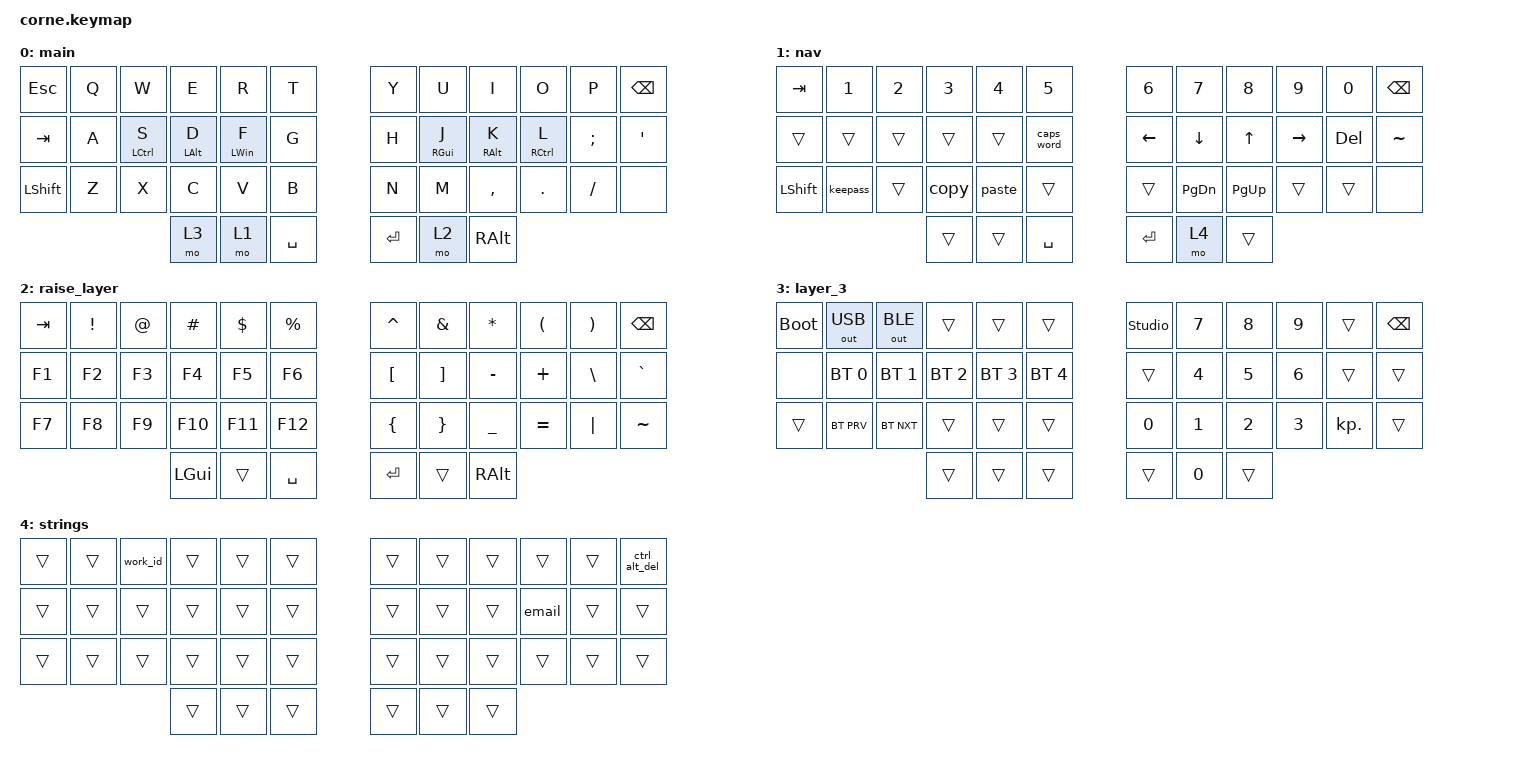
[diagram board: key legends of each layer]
/*
 * Copyright (c) 2020 The ZMK Contributors
 *
 * SPDX-License-Identifier: MIT
 */

#include <behaviors.dtsi>
#include <dt-bindings/zmk/bt.h>
#include <dt-bindings/zmk/keys.h>
#include <dt-bindings/zmk/outputs.h>

/ {
    behaviors {
        HML: HML {
            compatible = "zmk,behavior-hold-tap";
            label = "HML";
            bindings = <&sk>, <&kp>;

            #binding-cells = <2>;
            tapping-term-ms = <200>;
            quick-tap-ms = <175>;
            flavor = "tap-preferred";
        };

        HMR: HMR {
            compatible = "zmk,behavior-hold-tap";
            label = "HMR";
            bindings = <&sk>, <&kp>;

            #binding-cells = <2>;
            tapping-term-ms = <200>;
            quick-tap-ms = <175>;
            flavor = "tap-preferred";
        };
    };

    macros {
        ctrl_alt_del: ctrl_alt_del {
            compatible = "zmk,behavior-macro";
            #binding-cells = <0>;
            bindings = <&kp LC(LA(DEL))>;
            label = "CTRL_ALT_DEL";
        };

        email: email {
            compatible = "zmk,behavior-macro";
            #binding-cells = <0>;
            bindings = <&kp N &kp E &kp L &kp R &kp E &kp T &kp H &kp AT &kp G &kp M &kp A &kp I &kp L &kp DOT &kp C &kp O &kp M>;
            label = "EMAIL";
        };

        work_id: work_id {
            compatible = "zmk,behavior-macro";
            #binding-cells = <0>;
            bindings = <&none &kp M &kp N0 &kp N1 &kp N3 &kp N1 &kp N9 &kp N8 &kp MINUS &kp A &kp D &kp M>;
            label = "WORK_ID";
        };

        keepass: keepass {
            compatible = "zmk,behavior-macro";
            #binding-cells = <0>;
            bindings = <&kp LC(RA(K))>;
            label = "KEEPASS";
        };

        copy: copy {
            compatible = "zmk,behavior-macro";
            #binding-cells = <0>;
            bindings = <&kp LC(C)>;
            label = "COPY";
        };

        paste: paste {
            compatible = "zmk,behavior-macro";
            #binding-cells = <0>;
            bindings = <&kp LC(V)>;
            label = "PASTE";
        };
    };

    combos {
        compatible = "zmk,combos";

        save_win {
            bindings = <&kp LC(S)>;
            key-positions = <2 3>;
            layers = <0>;
        };

        copy_win {
            bindings = <&kp LC(C)>;
            key-positions = <26 27>;
            layers = <0>;
        };

        paste_win {
            bindings = <&kp LC(V)>;
            key-positions = <27 28>;
            layers = <0>;
        };

        copy_osx {
            bindings = <&kp LG(C)>;
            key-positions = <26 27>;
        };

        save_osx {
            bindings = <&kp LG(S)>;
            key-positions = <2 3>;
        };

        paste_osx {
            bindings = <&kp LG(V)>;
            key-positions = <27 28>;
        };

        undo_win {
            bindings = <&kp LC(Z)>;
            key-positions = <29 28>;
        };

        undo_osx {
            bindings = <&kp LG(Z)>;
            key-positions = <29 28>;
        };

        redo_osx {
            bindings = <&kp LG(LS(Z))>;
            key-positions = <24 25>;
        };
    };

    keymap {
        compatible = "zmk,keymap";

        main {
            // -----------------------------------------------------------------------------------------
            // |  TAB |  Q  |  W  |  E  |  R  |  T  |   |  Y  |  U   |  I  |  O  |  P  | BSPC |
            // | CTRL |  A  |  S  |  D  |  F  |  G  |   |  H  |  J   |  K  |  L  |  ;  |  '   |
            // | SHFT |  Z  |  X  |  C  |  V  |  B  |   |  N  |  M   |  ,  |  .  |  /  | ESC  |
            //                    | GUI | LWR | SPC |   | ENT | RSE  | ALT |

            bindings = <
&kp ESCAPE  &kp Q  &kp W         &kp E            &kp R            &kp T        &kp Y    &kp U             &kp I             &kp O         &kp P          &kp BSPC
&kp TAB     &kp A  &HML LCTRL S  &HML LEFT_ALT D  &HML LEFT_WIN F  &kp G        &kp H    &HMR RIGHT_GUI J  &HMR RIGHT_ALT K  &HMR RCTRL L  &kp SEMICOLON  &kp SQT
&kp LSHFT   &kp Z  &kp X         &kp C            &kp V            &kp B        &kp N    &kp M             &kp COMMA         &kp PERIOD    &kp SLASH      &none
                                 &mo 3            &mo 1            &kp SPACE    &kp RET  &mo 2             &kp RIGHT_ALT
            >;
        };

        nav {
            // -----------------------------------------------------------------------------------------
            // |  TAB |  1  |  2  |  3  |  4  |  5  |   |  6  |  7  |  8  |  9  |  0  | BSPC |
            // | BTCLR| BT1 | BT2 | BT3 | BT4 | BT5 |   | LFT | DWN |  UP | RGT |     |      |
            // | SHFT |     |     |     |     |     |   |     |     |     |     |     |      |
            //                    | GUI |     | SPC |   | ENT |     | ALT |

            bindings = <
&kp TAB    &kp N1    &kp N2  &kp N3  &kp N4  &kp N5        &kp N6    &kp N7          &kp N8        &kp N9     &kp N0      &kp BSPC
&trans     &trans    &trans  &trans  &trans  &caps_word    &kp LEFT  &kp DOWN_ARROW  &kp UP_ARROW  &kp RIGHT  &kp DELETE  &kp TILDE
&kp LSHFT  &keepass  &trans  &copy   &paste  &trans        &trans    &kp PAGE_DOWN   &kp PAGE_UP   &trans     &trans      &none
                             &trans  &trans  &kp SPACE     &kp RET   &mo 4           &trans
            >;
        };

        raise_layer {
            // -----------------------------------------------------------------------------------------
            // |  TAB |  !  |  @  |  #  |  $  |  %  |   |  ^  |  &  |  *  |  (  |  )  | BSPC |
            // | CTRL |     |     |     |     |     |   |  -  |  =  |  [  |  ]  |  \  |  `   |
            // | SHFT |     |     |     |     |     |   |  _  |  +  |  {  |  }  | "|" |  ~   |
            //                    | GUI |     | SPC |   | ENT |     | ALT |

            bindings = <
&kp TAB  &kp EXCL  &kp AT  &kp HASH  &kp DLLR  &kp PRCNT    &kp CARET         &kp AMPS           &kp ASTRK       &kp LPAR   &kp RPAR  &kp BSPC
&kp F1   &kp F2    &kp F3  &kp F4    &kp F5    &kp F6       &kp LEFT_BRACKET  &kp RIGHT_BRACKET  &kp MINUS       &kp PLUS   &kp BSLH  &kp GRAVE
&kp F7   &kp F8    &kp F9  &kp F10   &kp F11   &kp F12      &kp LEFT_BRACE    &kp RIGHT_BRACE    &kp UNDERSCORE  &kp EQUAL  &kp PIPE  &kp TILDE
                           &kp LGUI  &trans    &kp SPACE    &kp RET           &trans             &kp RALT
            >;
        };

        layer_3 {
            bindings = <
&bootloader  &out OUT_USB  &out OUT_BLE  &trans        &trans        &trans          &studio_unlock     &kp N7        &kp N8        &kp N9        &trans      &kp BACKSPACE
&none        &bt BT_SEL 0  &bt BT_SEL 1  &bt BT_SEL 2  &bt BT_SEL 3  &bt BT_SEL 4    &trans             &kp NUMBER_4  &kp N5        &kp NUMBER_6  &trans      &trans
&trans       &bt BT_PRV    &bt BT_NXT    &trans        &trans        &trans          &kp NUMBER_0       &kp NUMBER_1  &kp NUMBER_2  &kp NUMBER_3  &kp KP_DOT  &trans
                                         &trans        &trans        &trans          &trans             &kp NUMBER_0  &trans
            >;
        };

        strings {
            bindings = <
&trans  &trans  &work_id  &trans  &trans  &trans    &trans  &trans  &trans  &trans  &trans  &ctrl_alt_del
&trans  &trans  &trans    &trans  &trans  &trans    &trans  &trans  &trans  &email  &trans  &trans
&trans  &trans  &trans    &trans  &trans  &trans    &trans  &trans  &trans  &trans  &trans  &trans
                          &trans  &trans  &trans    &trans  &trans  &trans
            >;
        };
    };
};
